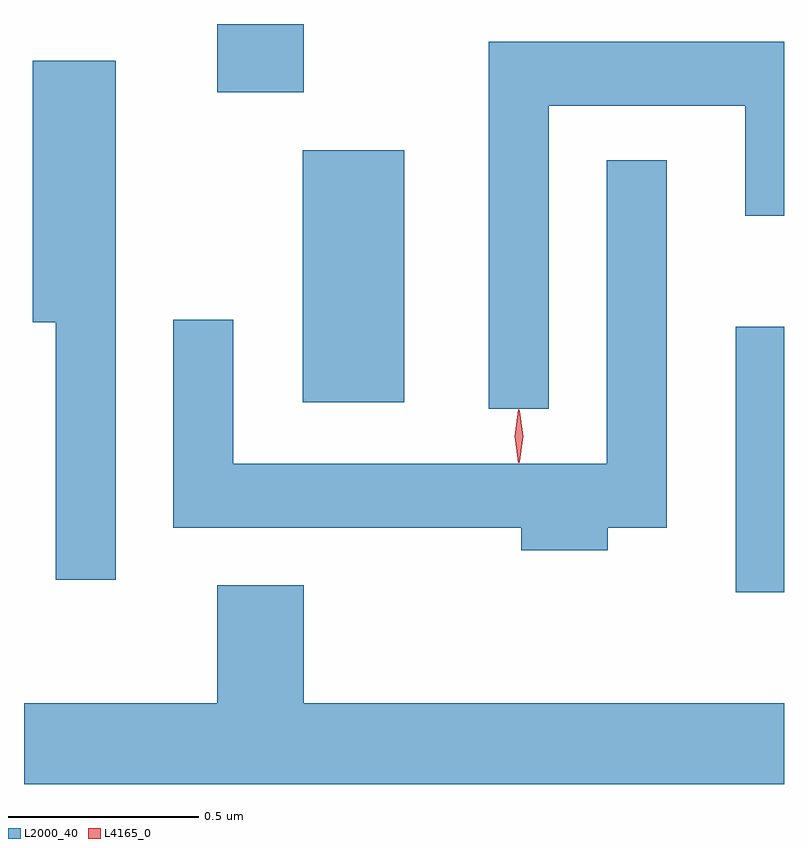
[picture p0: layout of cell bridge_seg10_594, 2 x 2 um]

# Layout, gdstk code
import gdstk
lib = gdstk.Library(unit=1e-6, precision=1e-09)
def R(c, l, rs):  # rectangles x0, y0, x1, y1
    for r in rs: c.add(gdstk.rectangle(r[:2], r[2:], *l))
def P(c, l, *ps):  # polygons
    for p in ps: c.add(gdstk.Polygon(p, *l))
L2000_40 = (2000, 40)
L4165_0 = (4165, 0)

bridge_seg10_594 = lib.new_cell('bridge_seg10_594')
R(bridge_seg10_594, L2000_40, [(765.856,2156.656,765.983,2157.354), (764.716,2157.156,764.984,2157.819), (764.491,2157.971,764.719,2158.151)])
P(bridge_seg10_594, L2000_40, [(765.364,2157.936),(765.881,2157.936),(765.881,2157.646),(765.983,2157.646),(765.983,2158.104),(765.206,2158.104),(765.206,2157.138),(765.364,2157.138)],
  [(764.224,2158.054),(764.006,2158.054),(764.006,2157.366),(764.066,2157.366),(764.066,2156.688),(764.224,2156.688)],
  [(765.519,2156.826),(765.674,2156.826),(765.674,2157.793),(765.516,2157.793),(765.516,2156.994),(764.534,2156.994),(764.534,2157.373),(764.376,2157.373),(764.376,2156.826),(765.291,2156.826),(765.291,2156.766),(765.519,2156.766)],
  [(765.983,2156.364),(764.719,2156.364),(764.719,2156.674),(764.491,2156.674),(764.491,2156.364),(763.983,2156.364),(763.983,2156.151),(765.983,2156.151)])
P(bridge_seg10_594, L4165_0, [(765.284,2156.997),(765.275,2157.066),(765.284,2157.136),(765.285,2157.136),(765.286,2157.136),(765.295,2157.066),(765.286,2156.997),(765.285,2156.997)],
  [(765.287,2156.999),(765.287,2157),(765.277,2157.066),(765.286,2157.132),(765.287,2157.133),(765.287,2157.132),(765.297,2157.066),(765.288,2157)])

lib.write_gds('bridge_seg10_594.gds')
